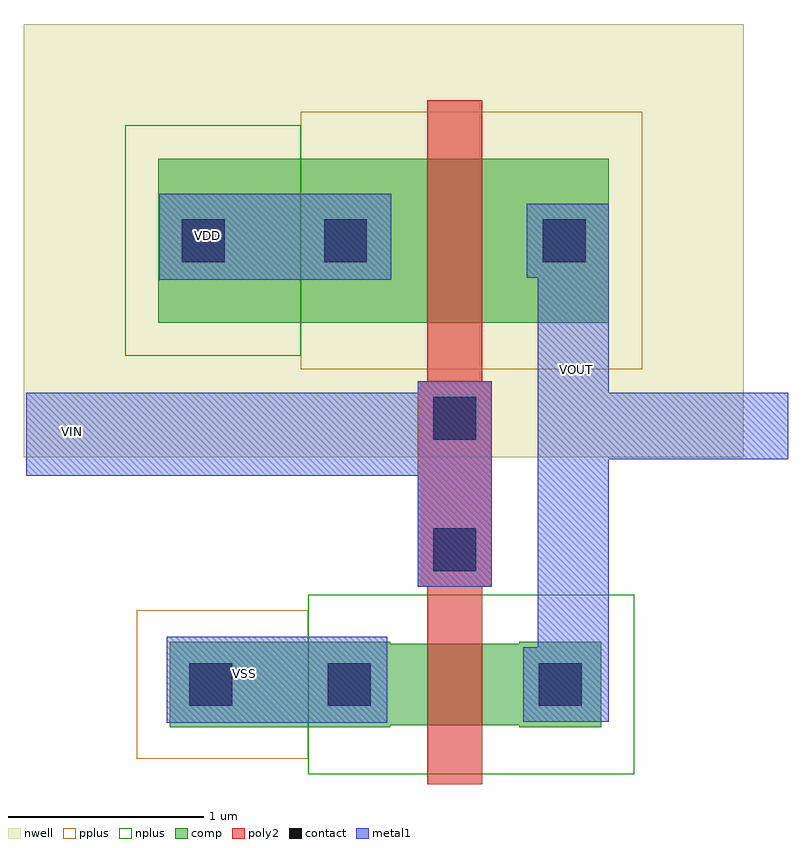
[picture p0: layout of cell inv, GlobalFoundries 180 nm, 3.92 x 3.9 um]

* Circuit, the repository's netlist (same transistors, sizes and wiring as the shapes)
** sch_path: /foss/designs/pixel/inv.sch
.subckt inv vdd vin vout vss
*.PININFO vin:B vout:B vdd:B vss:B
M1 vout vin vss vss nfet_03v3 L=0.28u W=0.42u nf=1 m=1
M2 vout vin vdd vdd pfet_03v3 L=0.28u W=0.84u nf=1 m=1
.ends

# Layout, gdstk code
from math import pi, radians
import gdstk
lib = gdstk.Library(unit=1e-6, precision=5e-09)
def R(c, l, rs):  # rectangles x0, y0, x1, y1
    for r in rs: c.add(gdstk.rectangle(r[:2], r[2:], *l))
def P(c, l, *ps):  # polygons
    for p in ps: c.add(gdstk.Polygon(p, *l))
nwell = (21, 0)
comp = (22, 0)
poly2 = (30, 0)
pplus = (31, 0)
nplus = (32, 0)
contact = (33, 0)
metal1 = (34, 0)

pfet = lib.new_cell('pfet')
R(pfet, nwell, [(-1.15,-0.69,2.54,1.53)])
R(pfet, comp, [(-0.46,0,0,0.84), (0,0,0.66,0.84), (0.66,0,1.12,0.84), (1.12,0,1.85,0.84)])
R(pfet, poly2, [(0.19,-0.3,0.47,1.14), (0.14,1.14,0.52,1.52)])
R(pfet, pplus, [(-0.63,-0.24,1.12,1.08)])
R(pfet, nplus, [(1.12,-0.17,2.02,1.01)])
R(pfet, contact, [(-0.34,0.31,-0.12,0.53), (0.78,0.31,1,0.53), (1.51,0.31,1.73,0.53), (0.22,1.22,0.44,1.44)])
R(pfet, metal1, [(-0.42,0.23,-0.04,0.61), (0.7,0.23,1.08,0.61), (1.43,0.23,1.81,0.61), (0.14,1.14,0.52,1.52)])

nfet_1 = lib.new_cell('nfet$1')
R(nfet_1, comp, [(-0.42,-0.01,0,0.43), (0.66,-0.01,1.08,0.43), (1.08,-0.01,1.79,0.43), (0,0,0.66,0.42)])
R(nfet_1, poly2, [(0.19,-0.3,0.47,0.72), (0.15,0.72,0.51,1.08)])
R(nfet_1, pplus, [(1.08,-0.17,1.96,0.59)])
R(nfet_1, nplus, [(-0.59,-0.25,1.08,0.67)])
R(nfet_1, contact, [(-0.32,0.1,-0.1,0.32), (0.76,0.1,0.98,0.32), (1.47,0.1,1.69,0.32), (0.22,0.79,0.44,1.01)])
R(nfet_1, metal1, [(-0.4,0.02,-0.02,0.4), (0.68,0.02,1.06,0.4), (1.39,0.02,1.77,0.4), (0.14,0.71,0.52,1.09)])

inv = lib.new_cell('inv')
R(inv, poly2, [(0.355,0.135,0.735,1.19)])
R(inv, metal1, [(-0.93,-0.56,0.2,-0.12), (0.97,-0.555,1.335,2.1), (0.355,0.135,0.735,1.155), (-1.65,0.705,0.73,1.13), (0.97,0.79,2.255,1.13), (-0.97,1.71,0.22,2.15)])
P(inv, metal1, [(0.355,1.155),(0.355,1.155),(0.735,1.155),(0.735,1.155)])
inv.add(gdstk.Reference(pfet, (0.875,2.33), rotation=pi))
inv.add(gdstk.Reference(nfet_1, (0.875,-0.575), rotation=pi, x_reflection=True))
inv.add(gdstk.Label('VOUT', (1.17,1.25), layer=34, texttype=10))
inv.add(gdstk.Label('VIN', (-1.415,0.93), layer=34, texttype=10))
inv.add(gdstk.Label('VSS', (-0.535,-0.31), layer=34, texttype=10))
inv.add(gdstk.Label('VDD', (-0.72,1.935), layer=34, texttype=10))

lib.write_gds('inv.gds')
